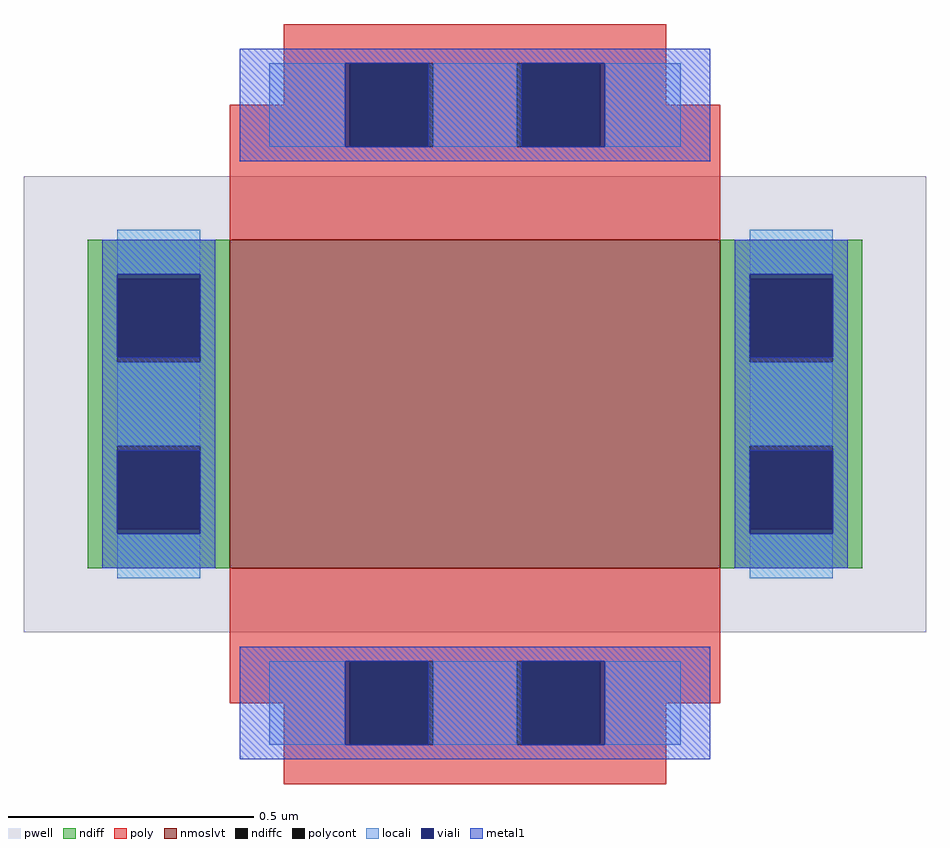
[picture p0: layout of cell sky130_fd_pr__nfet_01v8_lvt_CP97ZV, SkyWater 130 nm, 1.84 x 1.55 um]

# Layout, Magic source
magic
tech sky130A
magscale 1 2
<< pwell >>
rect -184 -93 184 93
<< nmoslvt >>
rect -100 -67 100 67
<< ndiff >>
rect -158 51 -100 67
rect -158 17 -146 51
rect -112 17 -100 51
rect -158 -17 -100 17
rect -158 -51 -146 -17
rect -112 -51 -100 -17
rect -158 -67 -100 -51
rect 100 51 158 67
rect 100 17 112 51
rect 146 17 158 51
rect 100 -17 158 17
rect 100 -51 112 -17
rect 146 -51 158 -17
rect 100 -67 158 -51
<< ndiffc >>
rect -146 17 -112 51
rect -146 -51 -112 -17
rect 112 17 146 51
rect 112 -51 146 -17
<< poly >>
rect -78 139 78 155
rect -78 122 -51 139
rect -100 105 -51 122
rect -17 105 17 139
rect 51 122 78 139
rect 51 105 100 122
rect -100 67 100 105
rect -100 -105 100 -67
rect -100 -122 -51 -105
rect -78 -139 -51 -122
rect -17 -139 17 -105
rect 51 -122 100 -105
rect 51 -139 78 -122
rect -78 -155 78 -139
<< polycont >>
rect -51 105 -17 139
rect 17 105 51 139
rect -51 -139 -17 -105
rect 17 -139 51 -105
<< locali >>
rect -84 105 -53 139
rect -17 105 17 139
rect 53 105 84 139
rect -146 53 -112 71
rect -146 -17 -112 17
rect -146 -71 -112 -53
rect 112 53 146 71
rect 112 -17 146 17
rect 112 -71 146 -53
rect -84 -139 -53 -105
rect -17 -139 17 -105
rect 53 -139 84 -105
<< viali >>
rect -53 105 -51 139
rect -51 105 -19 139
rect 19 105 51 139
rect 51 105 53 139
rect -146 51 -112 53
rect -146 19 -112 51
rect -146 -51 -112 -19
rect -146 -53 -112 -51
rect 112 51 146 53
rect 112 19 146 51
rect 112 -51 146 -19
rect 112 -53 146 -51
rect -53 -139 -51 -105
rect -51 -139 -19 -105
rect 19 -139 51 -105
rect 51 -139 53 -105
<< metal1 >>
rect -96 139 96 145
rect -96 105 -53 139
rect -19 105 19 139
rect 53 105 96 139
rect -96 99 96 105
rect -152 53 -106 67
rect -152 19 -146 53
rect -112 19 -106 53
rect -152 -19 -106 19
rect -152 -53 -146 -19
rect -112 -53 -106 -19
rect -152 -67 -106 -53
rect 106 53 152 67
rect 106 19 112 53
rect 146 19 152 53
rect 106 -19 152 19
rect 106 -53 112 -19
rect 146 -53 152 -19
rect 106 -67 152 -53
rect -96 -105 96 -99
rect -96 -139 -53 -105
rect -19 -139 19 -105
rect 53 -139 96 -105
rect -96 -145 96 -139
<< end >>
